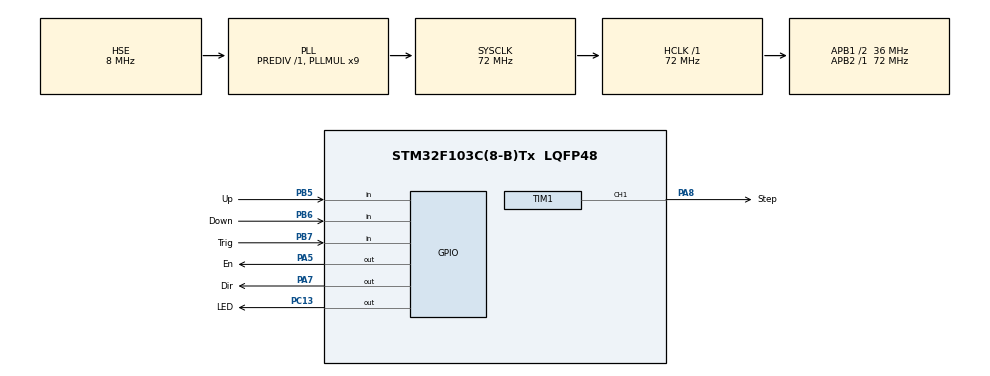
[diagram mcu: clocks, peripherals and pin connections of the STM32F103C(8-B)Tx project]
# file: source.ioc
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Mcu.Family=STM32F1
Mcu.Name=STM32F103C(8-B)Tx
Mcu.Package=LQFP48
NVIC.PriorityGroup=NVIC_PRIORITYGROUP_4
NVIC.TIM1_CC_IRQn=true\:0\:0\:false\:false\:true\:true\:true
PA13.Mode=Trace_Asynchronous_SW
PA13.Signal=SYS_JTMS-SWDIO
PA14.Mode=Trace_Asynchronous_SW
PA14.Signal=SYS_JTCK-SWCLK
PA5.GPIO_Label=En
PA5.GPIO_Speed=GPIO_SPEED_FREQ_HIGH
PA5.PinState=GPIO_PIN_SET
PA5.Signal=GPIO_Output
PA7.GPIO_Label=Dir
PA7.GPIO_Speed=GPIO_SPEED_FREQ_HIGH
PA7.PinState=GPIO_PIN_SET
PA7.Signal=GPIO_Output
PA8.GPIO_Label=Step
PA8.GPIO_Speed=GPIO_SPEED_FREQ_HIGH
PA8.Signal=S_TIM1_CH1
PB3.Mode=Trace_Asynchronous_SW
PB3.Signal=SYS_JTDO-TRACESWO
PB5.GPIO_Label=Up
PB5.GPIO_PuPd=GPIO_PULLUP
PB5.Signal=GPIO_Input
PB6.GPIO_Label=Down
PB6.GPIO_PuPd=GPIO_PULLUP
PB6.Signal=GPIO_Input
PB7.GPIO_Label=Trig
PB7.GPIO_PuPd=GPIO_PULLUP
PB7.Signal=GPIO_Input
PC13-TAMPER-RTC.GPIO_Label=LED
PC13-TAMPER-RTC.GPIO_PuPd=GPIO_NOPULL
PC13-TAMPER-RTC.GPIO_Speed=GPIO_SPEED_FREQ_HIGH
PC13-TAMPER-RTC.PinState=GPIO_PIN_SET
PC13-TAMPER-RTC.Signal=GPIO_Output
PC14-OSC32_IN.Mode=LSE-External-Oscillator
PC14-OSC32_IN.Signal=RCC_OSC32_IN
PC15-OSC32_OUT.Mode=LSE-External-Oscillator
PC15-OSC32_OUT.Signal=RCC_OSC32_OUT
PD0-OSC_IN.Mode=HSE-External-Oscillator
PD0-OSC_IN.Signal=RCC_OSC_IN
PD1-OSC_OUT.Mode=HSE-External-Oscillator
PD1-OSC_OUT.Signal=RCC_OSC_OUT
ProjectManager.HeapSize=0x200
ProjectManager.StackSize=0x400
ProjectManager.TargetToolchain=STM32CubeIDE
RCC.AHBFreq_Value=72000000
RCC.APB1CLKDivider=RCC_HCLK_DIV2
RCC.APB1Freq_Value=36000000
RCC.APB1TimFreq_Value=72000000
RCC.APB2Freq_Value=72000000
RCC.APB2TimFreq_Value=72000000
RCC.HCLKFreq_Value=72000000
RCC.PLLMUL=RCC_PLL_MUL9
RCC.PLLSourceVirtual=RCC_PLLSOURCE_HSE
RCC.SYSCLKFreq_VALUE=72000000
RCC.SYSCLKSource=RCC_SYSCLKSOURCE_PLLCLK
RCC.USBFreq_Value=72000000
SH.S_TIM1_CH1.0=TIM1_CH1,PWM Generation1 CH1
TIM1.AutoReloadPreload=TIM_AUTORELOAD_PRELOAD_ENABLE
TIM1.Channel-PWM\ Generation1\ CH1=TIM_CHANNEL_1
TIM1.Period=99
TIM1.Prescaler=666
TIM1.Pulse-PWM\ Generation1\ CH1=50
VP_TIM1_VS_ClockSourceINT.Mode=Internal
board=custom

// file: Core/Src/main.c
/* USER CODE BEGIN Header */
/**
  ******************************************************************************
  * @file           : main.c
  * @brief          : Main program body
  ******************************************************************************
  * @attention
  *
  * <h2><center>&copy; Copyright (c) 2024 STMicroelectronics.
  * All rights reserved.</center></h2>
  *
  * This software component is licensed by ST under BSD 3-Clause license,
  * the "License"; You may not use this file except in compliance with the
  * License. You may obtain a copy of the License at:
  *                        opensource.org/licenses/BSD-3-Clause
  *
  ******************************************************************************
  */
/* USER CODE END Header */
#include "main.h"
#include "tim.h"
#include "gpio.h"

/* USER CODE BEGIN PTD */
const uint32_t addr_base = 0x0800fc00;
const uint32_t T_map[150] = {1777, 1765, 1754, 1742, 1730, 1718, 1707, 1695, 1683, 1671, 1660, 1648, 1636, 1625, 1613, 1601, 1589, 1578, 1566, 1554, 1543, 1531, 1519, 1507, 1496, 1484, 1472, 1460, 1449, 1437, 1425, 1414, 1402, 1390, 1378, 1367, 1355, 1343, 1331, 1320, 1308, 1296, 1285, 1273, 1261, 1249, 1238, 1226, 1214, 1202, 1191, 1179, 1167, 1156, 1144, 1132, 1120, 1109, 1097, 1085, 1074, 1062, 1050, 1038, 1027, 1015, 1003, 991, 980, 968, 956, 945, 933, 921, 909, 898, 886, 874, 862, 851, 839, 827, 816, 804, 792, 780, 769, 757, 745, 733, 722, 710, 698, 687, 675, 663, 651, 640, 628, 616, 605, 593, 581, 569, 558, 546, 534, 522, 511, 499, 487, 476, 464, 452, 440, 429, 417, 405, 393, 382, 370, 358, 347, 335, 323, 311, 300, 288, 276, 265, 253, 241, 229, 218, 206, 194, 182, 171, 159, 147, 136, 124, 112, 100, 89, 77, 65, 53, 42, 30};
/* USER CODE END PTD */

/* USER CODE BEGIN PM */

static void readVal(uint32_t *val)
{
    uint32_t addr = addr_base;
    *val = *(__IO uint32_t *) (addr);
}

static void saveValue(uint32_t val)
{
    HAL_FLASH_Unlock();
    FLASH_EraseInitTypeDef f;
    f.TypeErase = FLASH_TYPEERASE_PAGES;
    f.PageAddress = addr_base;
    f.NbPages = 1;
    uint32_t PageError = 0;
    HAL_FLASHEx_Erase(&f, &PageError);
    HAL_FLASH_Program(TYPEPROGRAM_WORD, addr_base, val);
    HAL_FLASH_Lock();
}
/* USER CODE END PM */

/* USER CODE BEGIN PV */
static int32_t pos1;
static int32_t pos2;

static uint8_t movedFlag; // moved:1, never moved:0
static uint8_t direction; // Up:1, Down: 0
static uint8_t moving; // moving:1, station: 0
static uint8_t userControl; // control:1
static uint8_t waitingMoveUp; // waiting:1

static int32_t gCnt;
static uint32_t gNum;
/* USER CODE END PV */

void SystemClock_Config(void);

/* USER CODE BEGIN 0 */

static uint32_t GetTimeStampUS()
{
    // get ms
    uint32_t m = HAL_GetTick();
    // get tick reload value
    const uint32_t tms = SysTick->LOAD + 1;
    // get tick value
    __IO uint32_t u = tms - SysTick->VAL;
    // return value
    return(m*1000+(u*1000)/tms);
}

void addPos(int32_t val)
{
    pos1 = pos2;
    pos2 = val;
}

uint32_t getT(uint32_t num)
{
    return T_map[num];
}

void sendPulse(uint32_t nums)
{
    gNum = nums;
    HAL_TIM_PWM_Start_IT(&htim1, TIM_CHANNEL_1);
}

/* USER CODE END 0 */

int main(void)
{

  /* MCU Configuration--------------------------------------------------------*/

  /* Reset of all peripherals, Initializes the Flash interface and the Systick. */
  HAL_Init();

  /* Configure the system clock */
  SystemClock_Config();

  /* Initialize all configured peripherals */
  MX_GPIO_Init();
  MX_TIM1_Init();
  /* USER CODE BEGIN 2 */
  static uint32_t timestamp;
  /* USER CODE END 2 */

  /* Infinite loop */
  /* USER CODE BEGIN WHILE */
  while (1)
  {
      if(1 != moving)
      {
          if(timestamp + 300000 < GetTimeStampUS())
          {
              // check user button
              uint8_t clickUp = 1-HAL_GPIO_ReadPin(Up_GPIO_Port, Up_Pin);
              uint8_t clickDw = 1- HAL_GPIO_ReadPin(Down_GPIO_Port, Down_Pin);
              uint8_t clickTrg = 1 - HAL_GPIO_ReadPin(Trig_GPIO_Port, Trig_Pin);

              if(clickUp)
              {
                  userControl = 1;
                  direction = 1;
                  movedFlag = 1;
                  HAL_GPIO_WritePin(Dir_GPIO_Port, Dir_Pin, direction);
                  HAL_GPIO_WritePin(En_GPIO_Port, En_Pin, 1);
                  sendPulse(1);
              }

              if(clickDw)
              {
                  userControl = 1;
                  direction = 0;
                  movedFlag = 1;
                  HAL_GPIO_WritePin(Dir_GPIO_Port, Dir_Pin, direction);
                  HAL_GPIO_WritePin(En_GPIO_Port, En_Pin, 1);
                  sendPulse(1);
              }

              if(clickTrg)
              {
                  if(movedFlag)
                  {
                      addPos(gCnt);
                      movedFlag = 0;
                  }
                  else
                  {
                      int32_t moveRange = pos2 - pos1;
                      if( moveRange < 0)
                      {
                          // just move up
                          direction = 1;
                          HAL_GPIO_WritePin(Dir_GPIO_Port, Dir_Pin, direction);
                          HAL_GPIO_WritePin(En_GPIO_Port, En_Pin, 1);
                          saveValue(-moveRange);
                          sendPulse(-moveRange);
                          pos1 = 0;
                          pos2 = 0;
                          gCnt = 0;
                      }
                      else if( moveRange > 0)
                      {
                          // move down and up
                          direction = 0;
                          HAL_GPIO_WritePin(Dir_GPIO_Port, Dir_Pin, direction);
                          HAL_GPIO_WritePin(En_GPIO_Port, En_Pin, 1);
                          saveValue(moveRange);
                          waitingMoveUp = 1;
                          sendPulse(moveRange);
                          pos1 = 0;
                          pos2 = 0;
                          gCnt = 0;

                      }
                      else
                      {
                          // send NVM value
                          uint32_t temMoveRange=0;
                          readVal(&temMoveRange);
                          direction = 0;
                          HAL_GPIO_WritePin(Dir_GPIO_Port, Dir_Pin, direction);
                          HAL_GPIO_WritePin(En_GPIO_Port, En_Pin, 1);
                          waitingMoveUp = 1;
                          sendPulse(temMoveRange);
                      }

                  }
                  timestamp = GetTimeStampUS();

              }
          }
      }
      else
      {
          // moving, do nothing
          timestamp = GetTimeStampUS();
      }
    /* USER CODE END WHILE */

  }
}

void SystemClock_Config(void)
{
  RCC_OscInitTypeDef RCC_OscInitStruct = {0};
  RCC_ClkInitTypeDef RCC_ClkInitStruct = {0};

  /** Initializes the RCC Oscillators according to the specified parameters
  * in the RCC_OscInitTypeDef structure.
  */
  RCC_OscInitStruct.OscillatorType = RCC_OSCILLATORTYPE_HSE;
  RCC_OscInitStruct.HSEState = RCC_HSE_ON;
  RCC_OscInitStruct.HSEPredivValue = RCC_HSE_PREDIV_DIV1;
  RCC_OscInitStruct.HSIState = RCC_HSI_ON;
  RCC_OscInitStruct.PLL.PLLState = RCC_PLL_ON;
  RCC_OscInitStruct.PLL.PLLSource = RCC_PLLSOURCE_HSE;
  RCC_OscInitStruct.PLL.PLLMUL = RCC_PLL_MUL9;
  if (HAL_RCC_OscConfig(&RCC_OscInitStruct) != HAL_OK)
  {
    Error_Handler();
  }
  /** Initializes the CPU, AHB and APB buses clocks
  */
  RCC_ClkInitStruct.ClockType = RCC_CLOCKTYPE_HCLK|RCC_CLOCKTYPE_SYSCLK
                              |RCC_CLOCKTYPE_PCLK1|RCC_CLOCKTYPE_PCLK2;
  RCC_ClkInitStruct.SYSCLKSource = RCC_SYSCLKSOURCE_PLLCLK;
  RCC_ClkInitStruct.AHBCLKDivider = RCC_SYSCLK_DIV1;
  RCC_ClkInitStruct.APB1CLKDivider = RCC_HCLK_DIV2;
  RCC_ClkInitStruct.APB2CLKDivider = RCC_HCLK_DIV1;

  if (HAL_RCC_ClockConfig(&RCC_ClkInitStruct, FLASH_LATENCY_2) != HAL_OK)
  {
    Error_Handler();
  }
}

/* USER CODE BEGIN 4 */
static uint32_t pulse;
void HAL_TIM_PWM_PulseFinishedCallback(TIM_HandleTypeDef *htim)
{
    if(userControl)
    {
        if(direction)
        {
            gCnt ++;
        }
        else
        {
            gCnt --;
        }
    }

    pulse ++;

    uint32_t centerNum = gNum/2;

    if(centerNum >= 150)
    {
        centerNum = 150;
    }

    if(pulse < centerNum)
    {
        htim1.Instance->PSC = T_map[pulse];
    }
    else
    {
        uint32_t tem_pulse = gNum - pulse;
        if(tem_pulse < centerNum)
        {
            htim1.Instance->PSC = T_map[tem_pulse];
        }
    }

    if(pulse >= gNum)
    {
        HAL_TIM_PWM_Stop_IT(&htim1, TIM_CHANNEL_1);
        htim1.Instance->PSC = T_map[0];
        pulse = 0;
        moving = 0;
        userControl = 0;
        direction = 0;

        HAL_GPIO_WritePin(Dir_GPIO_Port, Dir_Pin, 0);
        HAL_GPIO_WritePin(En_GPIO_Port, En_Pin, 0);

        if(waitingMoveUp)
        {
            waitingMoveUp = 0;
            direction = 1;
            HAL_GPIO_WritePin(Dir_GPIO_Port, Dir_Pin, direction);
            HAL_GPIO_WritePin(En_GPIO_Port, En_Pin, 1);
            htim1.Instance->PSC = T_map[0];
            sendPulse(gNum);
        }
    }
    else
    {
        moving = 1;
    }
}
/* USER CODE END 4 */

void Error_Handler(void)
{
  __disable_irq();
  while (1)
  {
  }
}

/************************ (C) COPYRIGHT STMicroelectronics *****END OF FILE****/
